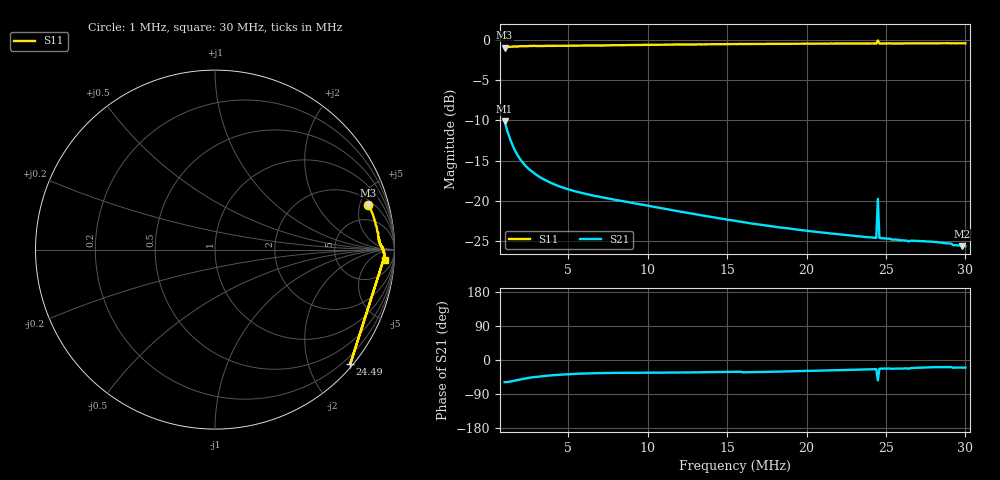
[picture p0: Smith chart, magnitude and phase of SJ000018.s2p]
!File created by NanoVNA-F V2
# Hz S RI R 50
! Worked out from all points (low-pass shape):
!   301 points, 1 MHz to 30 MHz, reference 50 ohm
!   highest |S21| = -10.11 dB at 1 MHz (marker M1); lowest = -25.6 dB at 29.81 MHz (marker M2)
!   |S21| within 3 dB of the highest: start of sweep to 1.509 MHz
!   lowest |S11| = -1.0 dB at 1 MHz (marker M3), VSWR 17.14, Z = 126 + j300 ohm
!   |S11| at or under -10 dB: nowhere
!   S12 and S22 are empty: the file has one direction only
!   S11 on the Smith chart (normalised r, x): 1 MHz: 2.51, +5.99; 24.49 MHz: 0.05, -2.73; 30 MHz: 16, -18
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1000000  0.8544 0.2484  0.1636 -0.2658  0 0  0 0
1193332  0.8733 0.211  0.1422 -0.2268  0 0  0 0
1386664  0.8838 0.1815  0.1296 -0.1973  0 0  0 0
1676662  0.8942 0.1487  0.1191 -0.1648  0 0  0 0
2063326  0.9006 0.1215  0.1119 -0.1369  0 0  0 0
2546656  0.906 0.0991  0.1073 -0.1149  0 0  0 0
3223318  0.9085 0.0777  0.1023 -0.0965  0 0  0 0
3899980  0.9113 0.0648  0.0985 -0.0844  0 0  0 0
5833300  0.9173 0.0428  0.091 -0.066  0 0  0 0
1.06666e7  0.9281 0.0168  0.0761 -0.0501  0 0  0 0
1.54999e7  0.9383 -0.00208  0.0646 -0.0393  0 0  0 0
2.03332e7  0.9424 -0.023  0.057 -0.0311  0 0  0 0
2.439317e7  0.9444 -0.0395  0.054 -0.0242  0 0  0 0
2.448984e7  0.7535 -0.6379  0.0609 -0.0832  0 0  0 0
2.45865e7  0.944 -0.0399  0.0546 -0.0231  0 0  0 0
2.51665e7  0.9462 -0.0418  0.0541 -0.0223  0 0  0 0
2.642316e7  0.946 -0.0464  0.0517 -0.0222  0 0  0 0
2.661649e7  0.9459 -0.0468  0.053 -0.0205  0 0  0 0
2.816315e7  0.9466 -0.0529  0.0528 -0.018  0 0  0 0
2.903314e7  0.9463 -0.0555  0.0518 -0.0175  0 0  0 0
2.980647e7  0.9469 -0.0588  0.0493 -0.0182  0 0  0 0
2.99998e7  0.9461 -0.0584  0.0495 -0.0179  0 0  0 0
